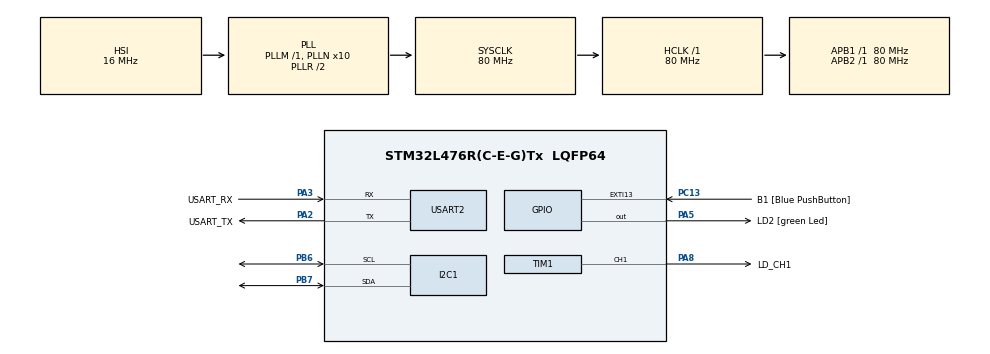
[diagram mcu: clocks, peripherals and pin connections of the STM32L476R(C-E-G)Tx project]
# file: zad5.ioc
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I2C1.Timing=0x10D19CE4
Mcu.Family=STM32L4
Mcu.Name=STM32L476R(C-E-G)Tx
Mcu.Package=LQFP64
NVIC.PriorityGroup=NVIC_PRIORITYGROUP_4
PA13\ (JTMS-SWDIO).GPIO_Label=TMS
PA13\ (JTMS-SWDIO).Mode=Serial_Wire
PA13\ (JTMS-SWDIO).Signal=SYS_JTMS-SWDIO
PA14\ (JTCK-SWCLK).GPIO_Label=TCK
PA14\ (JTCK-SWCLK).Mode=Serial_Wire
PA14\ (JTCK-SWCLK).Signal=SYS_JTCK-SWCLK
PA2.GPIO_Label=USART_TX
PA2.GPIO_Mode=GPIO_MODE_AF_PP
PA2.GPIO_PuPd=GPIO_NOPULL
PA2.GPIO_Speed=GPIO_SPEED_FREQ_VERY_HIGH
PA2.Mode=Asynchronous
PA2.Signal=USART2_TX
PA3.GPIO_Label=USART_RX
PA3.GPIO_Mode=GPIO_MODE_AF_PP
PA3.GPIO_PuPd=GPIO_NOPULL
PA3.GPIO_Speed=GPIO_SPEED_FREQ_VERY_HIGH
PA3.Mode=Asynchronous
PA3.Signal=USART2_RX
PA5.GPIO_Label=LD2 [green Led]
PA5.GPIO_ModeDefaultOutputPP=GPIO_MODE_OUTPUT_PP
PA5.GPIO_PuPd=GPIO_NOPULL
PA5.GPIO_Speed=GPIO_SPEED_FREQ_LOW
PA5.Signal=GPIO_Output
PA8.GPIO_Label=LD_CH1
PA8.Signal=S_TIM1_CH1
PB3\ (JTDO-TRACESWO).GPIO_Label=SWO
PB3\ (JTDO-TRACESWO).Signal=SYS_JTDO-SWO
PB6.Mode=I2C
PB6.Signal=I2C1_SCL
PB7.Mode=I2C
PB7.Signal=I2C1_SDA
PC13.GPIO_Label=B1 [Blue PushButton]
PC13.GPIO_ModeDefaultEXTI=GPIO_MODE_IT_FALLING
PC13.GPIO_PuPd=GPIO_NOPULL
PC13.Signal=GPXTI13
PC14-OSC32_IN\ (PC14).Mode=LSE-External-Oscillator
PC14-OSC32_IN\ (PC14).Signal=RCC_OSC32_IN
PC15-OSC32_OUT\ (PC15).Mode=LSE-External-Oscillator
PC15-OSC32_OUT\ (PC15).Signal=RCC_OSC32_OUT
PH0-OSC_IN\ (PH0).Signal=RCC_OSC_IN
PH1-OSC_OUT\ (PH1).Signal=RCC_OSC_OUT
ProjectManager.HeapSize=0x200
ProjectManager.StackSize=0x400
ProjectManager.TargetToolchain=STM32CubeIDE
RCC.ADCFreq_Value=64000000
RCC.AHBFreq_Value=80000000
RCC.APB1Freq_Value=80000000
RCC.APB1TimFreq_Value=80000000
RCC.APB2Freq_Value=80000000
RCC.APB2TimFreq_Value=80000000
RCC.CortexFreq_Value=80000000
RCC.HCLKFreq_Value=80000000
RCC.HSE_VALUE=8000000
RCC.HSI_VALUE=16000000
RCC.MSI_VALUE=4000000
RCC.PLLN=10
RCC.PLLSourceVirtual=RCC_PLLSOURCE_HSI
RCC.PREFETCH_ENABLE=1
RCC.SYSCLKFreq_VALUE=80000000
RCC.SYSCLKSource=RCC_SYSCLKSOURCE_PLLCLK
RCC.USBFreq_Value=64000000
RCC.VCOOutputFreq_Value=160000000
SH.S_TIM1_CH1.0=TIM1_CH1,PWM Generation1 CH1
TIM1.AutoReloadPreload=TIM_AUTORELOAD_PRELOAD_ENABLE
TIM1.Channel-PWM\ Generation1\ CH1=TIM_CHANNEL_1
TIM1.Period=999
TIM1.Prescaler=79
USART2.VirtualMode-Asynchronous=VM_ASYNC
VP_TIM1_VS_ClockSourceINT.Mode=Internal
board=NUCLEO-L476RG

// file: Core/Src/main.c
/* USER CODE BEGIN Header */
/**
  ******************************************************************************
  * @file           : main.c
  * @brief          : Main program body
  ******************************************************************************
  * @attention
  *
  * Copyright (c) 2025 STMicroelectronics.
  * All rights reserved.
  *
  * This software is licensed under terms that can be found in the LICENSE file
  * in the root directory of this software component.
  * If no LICENSE file comes with this software, it is provided AS-IS.
  *
  ******************************************************************************
  */
/* USER CODE END Header */
#include "main.h"
#include "i2c.h"
#include "tim.h"
#include "usart.h"
#include "gpio.h"

/* USER CODE BEGIN Includes */
#include <stdlib.h>
#include <stdio.h>
#include "BH1750.h"
/* USER CODE END Includes */

/* USER CODE BEGIN PD */
#define MAX_LUX 2000.0f
/* USER CODE END PD */

void SystemClock_Config(void);

/* USER CODE BEGIN 0 */

int __io_putchar(int ch)
{
    uint8_t c = (uint8_t)ch;
    if(c == '\n')
    {
        uint8_t ret = '\r';
        HAL_UART_Transmit(&huart2, &ret, 1, HAL_MAX_DELAY);
    }
    HAL_UART_Transmit(&huart2, &c, 1, HAL_MAX_DELAY);
    return ch;
}
/* USER CODE END 0 */

int main(void)
{

  /* MCU Configuration--------------------------------------------------------*/

  /* Reset of all peripherals, Initializes the Flash interface and the Systick. */
  HAL_Init();

  /* Configure the system clock */
  SystemClock_Config();

  /* Initialize all configured peripherals */
  MX_GPIO_Init();
  MX_USART2_UART_Init();
  MX_I2C1_Init();
  MX_TIM1_Init();
  /* USER CODE BEGIN 2 */
  init_bh1750_sensor(&hi2c1, MODE_CONT_HIGH_RES);
  HAL_Delay(120);
  HAL_TIM_PWM_Start(&htim1, TIM_CHANNEL_1);
  float lux = 0;
  uint32_t lux_millilux = 0;
  /* USER CODE END 2 */

  /* Infinite loop */
  /* USER CODE BEGIN WHILE */
  while (1)
  {
	uint16_t pwm_value;
	char buf[50];

	if(HAL_UART_Receive(&huart2, (uint8_t*)buf, 3, HAL_MAX_DELAY) == HAL_OK)
	{
	    pwm_value = atoi(buf);
	    if(pwm_value > htim1.Init.Period) pwm_value = htim1.Init.Period;
	    __HAL_TIM_SET_COMPARE(&htim1, TIM_CHANNEL_1, pwm_value);
	    printf("PWM ustawione: %u\n", pwm_value);
	}
	HAL_Delay(200);
	lux = read_lux(&hi2c1);
	lux_millilux = (uint32_t)(lux * 1000.0f);

	sprintf(buf, "wynik: %d\n", lux_millilux);
	printf("%s", buf);

    /* USER CODE END WHILE */

  }
}

void SystemClock_Config(void)
{
  RCC_OscInitTypeDef RCC_OscInitStruct = {0};
  RCC_ClkInitTypeDef RCC_ClkInitStruct = {0};

  /** Configure the main internal regulator output voltage
  */
  if (HAL_PWREx_ControlVoltageScaling(PWR_REGULATOR_VOLTAGE_SCALE1) != HAL_OK)
  {
    Error_Handler();
  }

  /** Initializes the RCC Oscillators according to the specified parameters
  * in the RCC_OscInitTypeDef structure.
  */
  RCC_OscInitStruct.OscillatorType = RCC_OSCILLATORTYPE_HSI;
  RCC_OscInitStruct.HSIState = RCC_HSI_ON;
  RCC_OscInitStruct.HSICalibrationValue = RCC_HSICALIBRATION_DEFAULT;
  RCC_OscInitStruct.PLL.PLLState = RCC_PLL_ON;
  RCC_OscInitStruct.PLL.PLLSource = RCC_PLLSOURCE_HSI;
  RCC_OscInitStruct.PLL.PLLM = 1;
  RCC_OscInitStruct.PLL.PLLN = 10;
  RCC_OscInitStruct.PLL.PLLP = RCC_PLLP_DIV7;
  RCC_OscInitStruct.PLL.PLLQ = RCC_PLLQ_DIV2;
  RCC_OscInitStruct.PLL.PLLR = RCC_PLLR_DIV2;
  if (HAL_RCC_OscConfig(&RCC_OscInitStruct) != HAL_OK)
  {
    Error_Handler();
  }

  /** Initializes the CPU, AHB and APB buses clocks
  */
  RCC_ClkInitStruct.ClockType = RCC_CLOCKTYPE_HCLK|RCC_CLOCKTYPE_SYSCLK
                              |RCC_CLOCKTYPE_PCLK1|RCC_CLOCKTYPE_PCLK2;
  RCC_ClkInitStruct.SYSCLKSource = RCC_SYSCLKSOURCE_PLLCLK;
  RCC_ClkInitStruct.AHBCLKDivider = RCC_SYSCLK_DIV1;
  RCC_ClkInitStruct.APB1CLKDivider = RCC_HCLK_DIV1;
  RCC_ClkInitStruct.APB2CLKDivider = RCC_HCLK_DIV1;

  if (HAL_RCC_ClockConfig(&RCC_ClkInitStruct, FLASH_LATENCY_4) != HAL_OK)
  {
    Error_Handler();
  }
}

void Error_Handler(void)
{
  __disable_irq();
  while (1)
  {
  }
}
